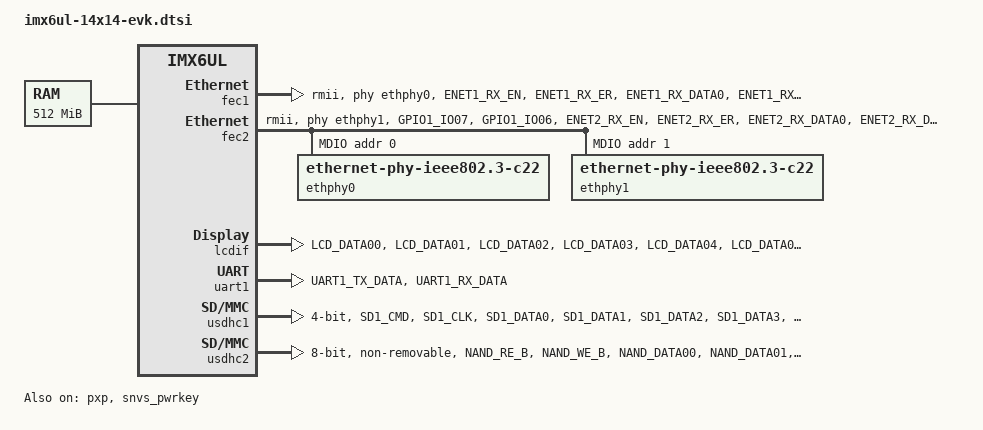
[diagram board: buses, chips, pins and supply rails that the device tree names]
// SPDX-License-Identifier: GPL-2.0
//
// Copyright (C) 2015 Freescale Semiconductor, Inc.

/ {
	chosen {
		stdout-path = &uart1;
	};

	memory@80000000 {
		device_type = "memory";
		reg = <0x80000000 0x20000000>;
	};
};

&fec1 {
	pinctrl-names = "default";
	pinctrl-0 = <&pinctrl_enet1>;
	phy-mode = "rmii";
	phy-handle = <&ethphy0>;
	local-mac-address = [ 00 0f b7 10 63 60 ];
	phy-reset-gpios = <&gpio5 9 GPIO_ACTIVE_LOW>;
	phy-reset-duration = <26>;
	status = "okay";
};

&fec2 {
	pinctrl-names = "default";
	pinctrl-0 = <&pinctrl_enet2>;
	phy-mode = "rmii";
	phy-handle = <&ethphy1>;
	local-mac-address = [ 00 0f b7 10 63 61 ];
	phy-reset-gpios = <&gpio5 6 GPIO_ACTIVE_LOW>;
	phy-reset-duration = <26>;
	status = "okay";

	mdio {
		#address-cells = <1>;
		#size-cells = <0>;

		ethphy0: ethernet-phy@0 {
			compatible = "ethernet-phy-ieee802.3-c22";
			reg = <0>;
			smsc,disable-energy-detect;

		};

		ethphy1: ethernet-phy@1 {
			compatible = "ethernet-phy-ieee802.3-c22";
			reg = <1>;
			smsc,disable-energy-detect;
		};
	};
};

&lcdif {
	pinctrl-names = "default";
	pinctrl-0 = <&pinctrl_lcdif_dat
		     &pinctrl_lcdif_ctrl>;
	display = <&display0>;
	status = "okay";

	display0: display@0 {
		bits-per-pixel = <24>;
		bus-width = <24>;

		display-timings {
			native-mode = <&timing0>;

			timing0: timing0 {
				clock-frequency = <50000000>;
				hactive = <1024>;
				vactive = <600>;
				hfront-porch = <160>;
				hback-porch = <140>;
				hsync-len = <20>;
				vback-porch = <20>;
				vfront-porch = <12>;
				vsync-len = <3>;
				hsync-active = <0>;
				vsync-active = <0>;
				de-active = <1>;
				pixelclk-active = <0>;
			};
		};
	};
};

&pxp {
	status = "okay";
};

&snvs_poweroff {
	status = "okay";
};

&snvs_pwrkey {
	status = "okay";
};

&uart1 {
	pinctrl-names = "default";
	pinctrl-0 = <&pinctrl_uart1>;
	status = "okay";
};

&usdhc1 {
	pinctrl-names = "default";
	pinctrl-0 = <&pinctrl_usdhc1>;
	cd-gpios = <&gpio1 19 GPIO_ACTIVE_LOW>;
	keep-power-in-suspend;
	enable-sdio-wakeup;
	bus-width = <4>;
	status = "okay";
};

&usdhc2 {
	pinctrl-names = "default";
	pinctrl-0 = <&pinctrl_usdhc2_8bit>;
	non-removable;
	keep-power-in-suspend;
	bus-width = <8>;
	status = "okay";
};

&iomuxc {
	pinctrl-names = "default";

	pinctrl_enet1: enet1grp {
		fsl,pins = <
			MX6UL_PAD_ENET1_RX_EN__ENET1_RX_EN	0x1b0b0
			MX6UL_PAD_ENET1_RX_ER__ENET1_RX_ER	0x1b0b0
			MX6UL_PAD_ENET1_RX_DATA0__ENET1_RDATA00	0x1b0b0
			MX6UL_PAD_ENET1_RX_DATA1__ENET1_RDATA01	0x1b0b0
			MX6UL_PAD_ENET1_TX_EN__ENET1_TX_EN	0x1b0b0
			MX6UL_PAD_ENET1_TX_DATA0__ENET1_TDATA00	0x1b0b0
			MX6UL_PAD_ENET1_TX_DATA1__ENET1_TDATA01	0x1b0b0
			MX6UL_PAD_ENET1_TX_CLK__ENET1_REF_CLK1	0x4001b031
		>;
	};

	pinctrl_enet2: enet2grp {
		fsl,pins = <
			MX6UL_PAD_GPIO1_IO07__ENET2_MDC		0x1b0b0
			MX6UL_PAD_GPIO1_IO06__ENET2_MDIO	0x1b0b0
			MX6UL_PAD_ENET2_RX_EN__ENET2_RX_EN	0x1b0b0
			MX6UL_PAD_ENET2_RX_ER__ENET2_RX_ER	0x1b0b0
			MX6UL_PAD_ENET2_RX_DATA0__ENET2_RDATA00	0x1b0b0
			MX6UL_PAD_ENET2_RX_DATA1__ENET2_RDATA01	0x1b0b0
			MX6UL_PAD_ENET2_TX_EN__ENET2_TX_EN	0x1b0b0
			MX6UL_PAD_ENET2_TX_DATA0__ENET2_TDATA00	0x1b0b0
			MX6UL_PAD_ENET2_TX_DATA1__ENET2_TDATA01	0x1b0b0
			MX6UL_PAD_ENET2_TX_CLK__ENET2_REF_CLK2	0x4001b031
		>;
	};

	pinctrl_lcdif_dat: lcdifdatgrp {
		fsl,pins = <
			MX6UL_PAD_LCD_DATA00__LCDIF_DATA00  0x79
			MX6UL_PAD_LCD_DATA01__LCDIF_DATA01  0x79
			MX6UL_PAD_LCD_DATA02__LCDIF_DATA02  0x79
			MX6UL_PAD_LCD_DATA03__LCDIF_DATA03  0x79
			MX6UL_PAD_LCD_DATA04__LCDIF_DATA04  0x79
			MX6UL_PAD_LCD_DATA05__LCDIF_DATA05  0x79
			MX6UL_PAD_LCD_DATA06__LCDIF_DATA06  0x79
			MX6UL_PAD_LCD_DATA07__LCDIF_DATA07  0x79
			MX6UL_PAD_LCD_DATA08__LCDIF_DATA08  0x79
			MX6UL_PAD_LCD_DATA09__LCDIF_DATA09  0x79
			MX6UL_PAD_LCD_DATA10__LCDIF_DATA10  0x79
			MX6UL_PAD_LCD_DATA11__LCDIF_DATA11  0x79
			MX6UL_PAD_LCD_DATA12__LCDIF_DATA12  0x79
			MX6UL_PAD_LCD_DATA13__LCDIF_DATA13  0x79
			MX6UL_PAD_LCD_DATA14__LCDIF_DATA14  0x79
			MX6UL_PAD_LCD_DATA15__LCDIF_DATA15  0x79
			MX6UL_PAD_LCD_DATA16__LCDIF_DATA16  0x79
			MX6UL_PAD_LCD_DATA17__LCDIF_DATA17  0x79
			MX6UL_PAD_LCD_DATA18__LCDIF_DATA18  0x79
			MX6UL_PAD_LCD_DATA19__LCDIF_DATA19  0x79
			MX6UL_PAD_LCD_DATA20__LCDIF_DATA20  0x79
			MX6UL_PAD_LCD_DATA21__LCDIF_DATA21  0x79
			MX6UL_PAD_LCD_DATA22__LCDIF_DATA22  0x79
			MX6UL_PAD_LCD_DATA23__LCDIF_DATA23  0x79
		>;
	};

	pinctrl_lcdif_ctrl: lcdifctrlgrp {
		fsl,pins = <
			MX6UL_PAD_LCD_CLK__LCDIF_CLK	    0x79
			MX6UL_PAD_LCD_ENABLE__LCDIF_ENABLE  0x79
			MX6UL_PAD_LCD_HSYNC__LCDIF_HSYNC    0x79
			MX6UL_PAD_LCD_VSYNC__LCDIF_VSYNC    0x79
		>;
	};

	pinctrl_uart1: uart1grp {
		fsl,pins = <
			MX6UL_PAD_UART1_TX_DATA__UART1_DCE_TX 0x1b0b1
			MX6UL_PAD_UART1_RX_DATA__UART1_DCE_RX 0x1b0b1
		>;
	};

	pinctrl_usdhc1: usdhc1grp {
		fsl,pins = <
			MX6UL_PAD_SD1_CMD__USDHC1_CMD     	0x17059
			MX6UL_PAD_SD1_CLK__USDHC1_CLK		0x10071
			MX6UL_PAD_SD1_DATA0__USDHC1_DATA0 	0x17059
			MX6UL_PAD_SD1_DATA1__USDHC1_DATA1 	0x17059
			MX6UL_PAD_SD1_DATA2__USDHC1_DATA2 	0x17059
			MX6UL_PAD_SD1_DATA3__USDHC1_DATA3 	0x17059
			MX6UL_PAD_UART1_RTS_B__GPIO1_IO19       0x17059
		>;
	};

	pinctrl_usdhc2_8bit: usdhc2grp_8bit {
		fsl,pins = <
			MX6UL_PAD_NAND_RE_B__USDHC2_CLK     0x10069
			MX6UL_PAD_NAND_WE_B__USDHC2_CMD     0x17059
			MX6UL_PAD_NAND_DATA00__USDHC2_DATA0 0x17059
			MX6UL_PAD_NAND_DATA01__USDHC2_DATA1 0x17059
			MX6UL_PAD_NAND_DATA02__USDHC2_DATA2 0x17059
			MX6UL_PAD_NAND_DATA03__USDHC2_DATA3 0x17059
			MX6UL_PAD_NAND_DATA04__USDHC2_DATA4 0x17059
			MX6UL_PAD_NAND_DATA05__USDHC2_DATA5 0x17059
			MX6UL_PAD_NAND_DATA06__USDHC2_DATA6 0x17059
			MX6UL_PAD_NAND_DATA07__USDHC2_DATA7 0x17059
		>;
	};
};
